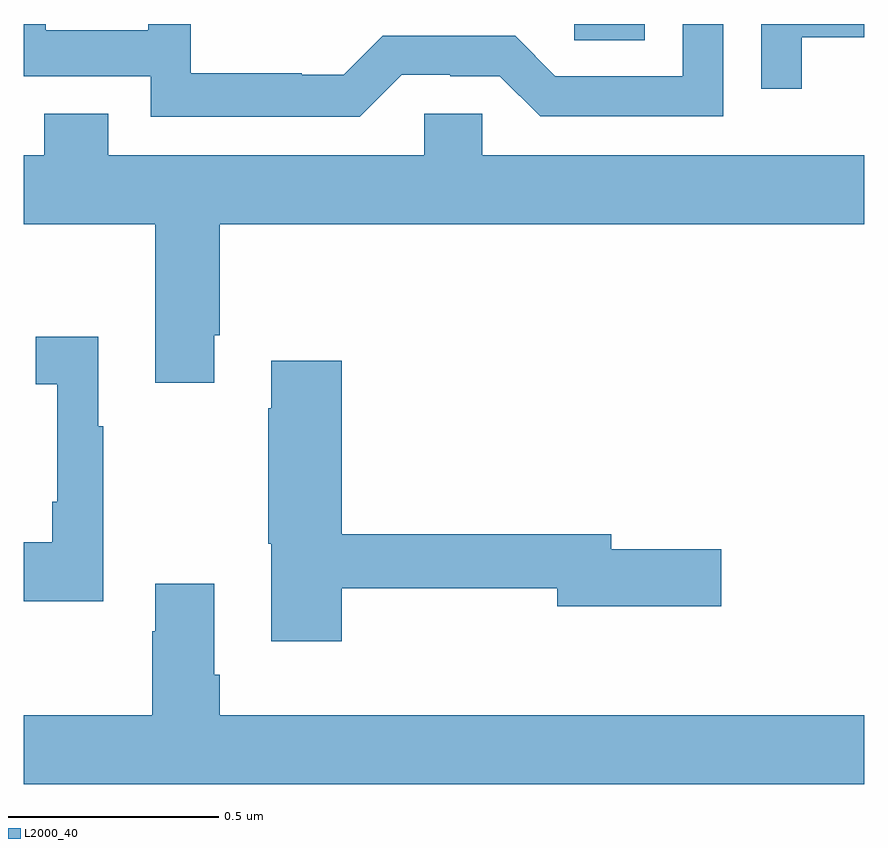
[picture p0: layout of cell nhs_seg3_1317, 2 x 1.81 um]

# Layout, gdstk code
import gdstk
lib = gdstk.Library(unit=1e-6, precision=1e-09)
def R(c, l, rs):  # rectangles x0, y0, x1, y1
    for r in rs: c.add(gdstk.rectangle(r[:2], r[2:], *l))
def P(c, l, *ps):  # polygons
    for p in ps: c.add(gdstk.Polygon(p, *l))
L2000_40 = (2000, 40)

nhs_seg3_1317 = lib.new_cell('nhs_seg3_1317')
R(nhs_seg3_1317, L2000_40, [(128.31,693.361,128.478,693.4)])
P(nhs_seg3_1317, L2000_40, [(127.899,693.279),(128.015,693.279),(128.015,693.276),(128.133,693.276),(128.229,693.18),(128.664,693.18),(128.664,693.4),(128.568,693.4),(128.568,693.276),(128.265,693.276),(128.169,693.372),(127.854,693.372),(127.761,693.279),(127.661,693.279),(127.661,693.283),(127.398,693.283),(127.398,693.4),(127.297,693.4),(127.297,693.385),(127.053,693.385),(127.053,693.4),(127,693.4),(127,693.276),(127.302,693.276),(127.302,693.179),(127.799,693.179)],
  [(128.851,693.369),(129,693.369),(129,693.4),(128.755,693.4),(128.755,693.246),(128.851,693.246)],
  [(127.453,692.659),(127.466,692.659),(127.466,692.924),(129,692.924),(129,693.088),(128.091,693.088),(128.091,693.186),(127.953,693.186),(127.953,693.088),(127.201,693.088),(127.201,693.187),(127.049,693.187),(127.049,693.088),(127,693.088),(127,692.924),(127.313,692.924),(127.313,692.547),(127.453,692.547)],
  [(127.189,692.443),(127.177,692.443),(127.177,692.656),(127.029,692.656),(127.029,692.543),(127.08,692.543),(127.08,692.263),(127.068,692.263),(127.068,692.167),(127,692.167),(127,692.027),(127.189,692.027)],
  [(127.757,692.058),(128.27,692.058),(128.27,692.015),(128.659,692.015),(128.659,692.15),(128.398,692.15),(128.398,692.186),(127.757,692.186),(127.757,692.599),(127.589,692.599),(127.589,692.486),(127.582,692.486),(127.582,692.163),(127.589,692.163),(127.589,691.932),(127.757,691.932)],
  [(129,691.756),(127.466,691.756),(127.466,691.852),(127.453,691.852),(127.453,692.068),(127.313,692.068),(127.313,691.955),(127.306,691.955),(127.306,691.756),(127,691.756),(127,691.592),(129,691.592)])

lib.write_gds('nhs_seg3_1317.gds')
